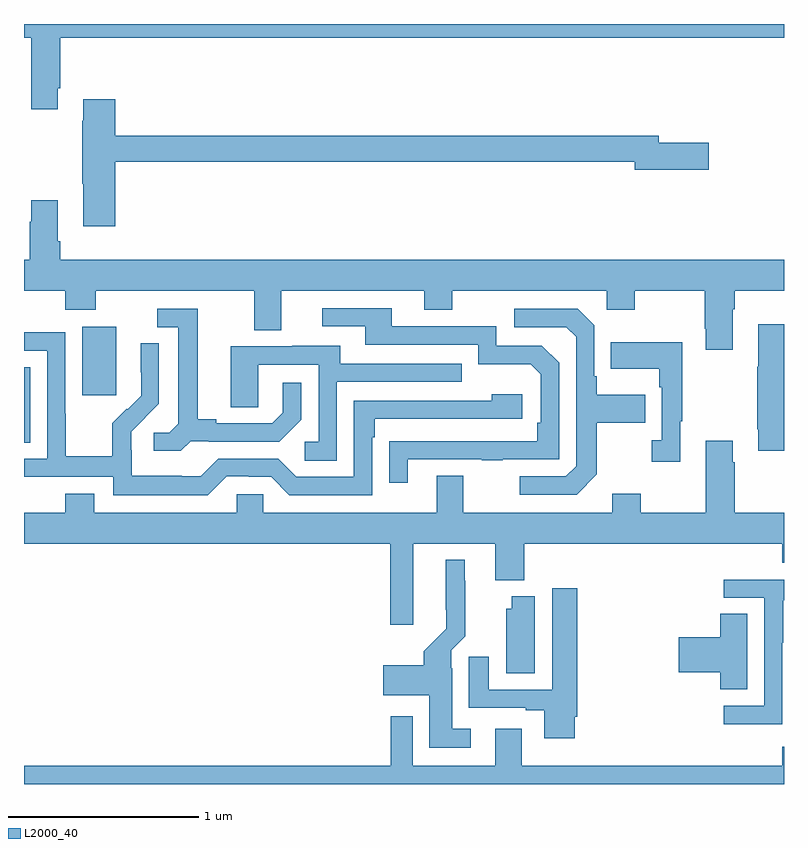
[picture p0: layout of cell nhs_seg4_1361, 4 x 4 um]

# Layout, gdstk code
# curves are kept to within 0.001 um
import gdstk
lib = gdstk.Library(unit=1e-6, precision=1e-09)
def R(c, l, rs):  # rectangles x0, y0, x1, y1
    for r in rs: c.add(gdstk.rectangle(r[:2], r[2:], *l))
def P(c, l, *ps):  # polygons
    for p in ps: c.add(gdstk.Polygon(p, *l))
L2000_40 = (2000, 40)

nhs_seg4_1361 = lib.new_cell('nhs_seg4_1361')
R(nhs_seg4_1361, L2000_40, [(181,786.697,181.033,787.094), (181.307,786.945,181.486,787.306)])
P(nhs_seg4_1361, L2000_40, [(181.177,788.563),(181.19,788.563),(181.19,788.828),(185,788.828),(185,788.9),(181,788.9),(181,788.828),(181.037,788.828),(181.037,788.451),(181.177,788.451)],
  [(181.481,788.176),(184.214,788.176),(184.214,788.134),(184.603,788.134),(184.603,788.276),(184.342,788.276),(184.342,788.312),(181.481,788.312),(181.481,788.503),(181.313,788.503),(181.313,788.39),(181.306,788.39),(181.306,788.059),(181.313,788.059),(181.313,787.836),(181.481,787.836)],
  [(184.729,787.4),(184.742,787.4),(184.742,787.496),(185,787.496),(185,787.66),(181.19,787.66),(181.19,787.756),(181.177,787.756),(181.177,787.972),(181.037,787.972),(181.037,787.859),(181.03,787.859),(181.03,787.66),(181,787.66),(181,787.496),(181.217,787.496),(181.217,787.397),(181.377,787.397),(181.377,787.496),(182.213,787.496),(182.213,787.288),(182.353,787.288),(182.353,787.496),(183.107,787.496),(183.107,787.397),(183.255,787.397),(183.255,787.496),(184.068,787.496),(184.068,787.397),(184.215,787.397),(184.215,787.496),(184.582,787.496),(184.582,787.297),(184.589,787.297),(184.589,787.185),(184.729,787.185)],
  [(183.019,786.609),(183.409,786.609),(183.409,786.604),(183.521,786.604),(183.521,786.609),(183.816,786.609),(183.816,787.116),(183.726,787.206),(183.486,787.206),(183.486,787.308),(182.935,787.308),(182.935,787.404),(182.571,787.404),(182.571,787.308),(182.795,787.308),(182.795,787.212),(183.39,787.212),(183.39,787.109),(183.667,787.109),(183.72,787.056),(183.72,786.802),(183.7,786.802),(183.7,786.705),(182.923,786.704),(182.923,786.486),(183.019,786.486)],
  [(181.878,786.705),(181.972,786.705),(181.972,786.702),(182.344,786.702),(182.46,786.818),(182.46,787.012),(182.363,787.012),(182.363,786.855),(182.306,786.798),(182.011,786.798),(182.011,786.821),(181.915,786.821),(181.915,787.401),(181.701,787.401),(181.701,787.305),(181.811,787.305),(181.811,786.797),(181.764,786.75),(181.683,786.75),(181.683,786.653),(181.826,786.653)],
  [(184.015,786.529),(184.015,786.802),(184.271,786.802),(184.271,786.949),(184.015,786.949),(184.015,787.045),(184.002,787.045),(184.002,787.314),(183.915,787.401),(183.579,787.401),(183.579,787.305),(183.855,787.305),(183.906,787.254),(183.906,786.573),(183.852,786.519),(183.609,786.519),(183.609,786.423),(183.909,786.423)],
  [(185,787.321),(184.865,787.321),(184.865,787.097),(184.858,787.097),(184.858,786.766),(184.865,786.766),(184.865,786.654),(185,786.654)],
  [(182.067,786.519),(182.183,786.519),(182.183,786.516),(182.301,786.516),(182.397,786.42),(182.832,786.42),(182.832,786.725),(182.845,786.725),(182.845,786.822),(183.622,786.822),(183.622,786.952),(183.461,786.952),(183.461,786.918),(182.736,786.918),(182.736,786.516),(182.433,786.516),(182.337,786.612),(182.022,786.612),(181.929,786.519),(181.829,786.519),(181.829,786.523),(181.566,786.523),(181.566,786.657),(181.564,786.657),(181.564,786.754),(181.71,786.902),(181.71,787.22),(181.614,787.22),(181.614,787.066),(181.616,787.066),(181.616,786.944),(181.545,786.873),(181.542,786.876),(181.465,786.799),(181.465,786.625),(181.221,786.625),(181.221,786.848),(181.218,786.848),(181.218,787.278),(181,787.278),(181,787.179),(181.122,787.179),(181.122,786.612),(181,786.612),(181,786.516),(181.47,786.516),(181.47,786.419),(181.967,786.419)],
  [(184.453,786.809),(184.465,786.809),(184.465,787.225),(184.087,787.225),(184.087,787.085),(184.344,787.085),(184.344,786.989),(184.356,786.989),(184.356,786.71),(184.305,786.71),(184.305,786.597),(184.453,786.597)],
  [(182.646,787.017),(183.305,787.017),(183.305,787.113),(182.665,787.113),(182.665,787.207),(182.411,787.207),(182.411,787.203),(182.087,787.203),(182.087,786.883),(182.232,786.883),(182.232,787.107),(182.55,787.107),(182.55,786.702),(182.478,786.702),(182.478,786.601),(182.646,786.601)],
  [(183.313,786.523),(183.173,786.523),(183.173,786.328),(182.259,786.328),(182.259,786.426),(182.121,786.426),(182.121,786.328),(181.369,786.328),(181.369,786.427),(181.217,786.427),(181.217,786.328),(181,786.328),(181,786.164),(182.927,786.164),(182.927,785.739),(183.049,785.739),(183.049,786.164),(183.479,786.164),(183.479,785.972),(183.632,785.972),(183.632,786.164),(184.991,786.164),(184.991,786.065),(185,786.065),(185,786.328),(184.742,786.328),(184.742,786.593),(184.729,786.593),(184.729,786.706),(184.589,786.706),(184.589,786.328),(184.245,786.328),(184.245,786.427),(184.097,786.427),(184.097,786.328),(183.313,786.328)],
  [(183.352,785.191),(183.253,785.191),(183.253,785.51),(183.249,785.51),(183.249,785.604),(183.323,785.678),(183.323,785.969),(183.319,785.969),(183.319,786.079),(183.221,786.079),(183.222,785.716),(183.104,785.598),(183.104,785.524),(182.892,785.524),(182.892,785.366),(183.134,785.366),(183.134,785.09),(183.352,785.09)],
  [(184.992,785.644),(184.995,785.644),(184.995,785.868),(185,785.868),(185,785.976),(184.683,785.976),(184.683,785.88),(184.896,785.88),(184.896,785.313),(184.683,785.313),(184.683,785.215),(184.992,785.215)],
  [(183.898,785.254),(183.911,785.254),(183.911,785.929),(183.779,785.929),(183.779,785.397),(183.445,785.397),(183.445,785.569),(183.341,785.569),(183.341,785.301),(183.641,785.301),(183.641,785.289),(183.737,785.289),(183.737,785.142),(183.898,785.142)],
  [(183.688,785.887),(183.566,785.887),(183.566,785.823),(183.539,785.823),(183.539,785.482),(183.688,785.482)],
  [(184.807,785.795),(184.664,785.795),(184.664,785.672),(184.446,785.672),(184.446,785.489),(184.664,785.489),(184.664,785.398),(184.807,785.398)],
  [(185,785.095),(184.991,785.095),(184.991,784.996),(183.619,784.996),(183.619,785.191),(183.479,785.191),(183.479,784.996),(183.045,784.996),(183.045,785.257),(182.929,785.257),(182.929,784.996),(181,784.996),(181,784.9),(185,784.9)])

lib.write_gds('nhs_seg4_1361.gds')
